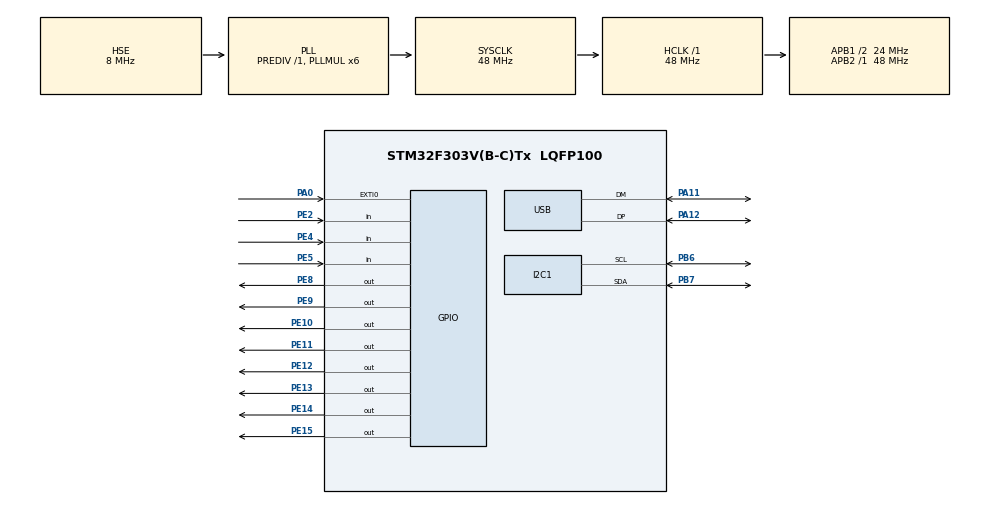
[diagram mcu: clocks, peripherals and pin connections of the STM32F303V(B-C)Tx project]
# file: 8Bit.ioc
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FREERTOS.Tasks01=defaultTask,0,128,StartDefaultTask,Default,NULL
Mcu.Family=STM32F3
Mcu.Name=STM32F303V(B-C)Tx
Mcu.Package=LQFP100
NVIC.EXTI0_IRQn=true\:5\:0\:false\:false\:true\:true\:true
NVIC.PriorityGroup=NVIC_PRIORITYGROUP_4
NVIC.TIM1_UP_TIM16_IRQn=true\:0\:0\:false\:false\:true\:false\:false
NVIC.TIM7_IRQn=true\:5\:0\:false\:false\:true\:true\:true
NVIC.TimeBase=TIM1_UP_TIM16_IRQn
NVIC.TimeBaseIP=TIM1
PA0.Signal=GPXTI0
PA11.Mode=Device
PA11.Signal=USB_DM
PA12.Mode=Device
PA12.Signal=USB_DP
PA13.Mode=Serial_Wire
PA13.Signal=SYS_JTMS-SWDIO
PA14.Mode=Serial_Wire
PA14.Signal=SYS_JTCK-SWCLK
PB6.Mode=I2C
PB6.Signal=I2C1_SCL
PB7.Mode=I2C
PB7.Signal=I2C1_SDA
PE10.Signal=GPIO_Output
PE11.Signal=GPIO_Output
PE12.Signal=GPIO_Output
PE13.Signal=GPIO_Output
PE14.Signal=GPIO_Output
PE15.Signal=GPIO_Output
PE2.Signal=GPIO_Input
PE4.Signal=GPIO_Input
PE5.Signal=GPIO_Input
PE8.Signal=GPIO_Output
PE9.Signal=GPIO_Output
PF0-OSC_IN.Mode=HSE-External-Oscillator
PF0-OSC_IN.Signal=RCC_OSC_IN
PF1-OSC_OUT.Mode=HSE-External-Oscillator
PF1-OSC_OUT.Signal=RCC_OSC_OUT
ProjectManager.HeapSize=0x200
ProjectManager.StackSize=0x400
ProjectManager.TargetToolchain=EWARM
RCC.AHBFreq_Value=48000000
RCC.APB1CLKDivider=RCC_HCLK_DIV2
RCC.APB1Freq_Value=24000000
RCC.APB1TimFreq_Value=48000000
RCC.APB2Freq_Value=48000000
RCC.APB2TimFreq_Value=48000000
RCC.CortexFreq_Value=48000000
RCC.HCLKFreq_Value=48000000
RCC.HSE_VALUE=8000000
RCC.HSI_VALUE=8000000
RCC.LSE_VALUE=32768
RCC.PLLMUL=RCC_PLL_MUL6
RCC.SYSCLKFreq_VALUE=48000000
RCC.SYSCLKSourceVirtual=RCC_SYSCLKSOURCE_PLLCLK
RCC.USBFreq_Value=48000000
TIM7.Period=999
TIM7.Prescaler=47999
VP_FREERTOS_VS_ENABLE.Mode=Enabled
VP_SYS_VS_tim1.Mode=TIM1
VP_TIM7_VS_ClockSourceINT.Mode=Enable_Timer
board=8Bit

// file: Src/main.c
/**
  ******************************************************************************
  * File Name          : main.c
  * Description        : Main program body
  ******************************************************************************
  * This notice applies to any and all portions of this file
  * that are not between comment pairs USER CODE BEGIN and
  * USER CODE END. Other portions of this file, whether
  * inserted by the user or by software development tools
  * are owned by their respective copyright owners.
  *
  * Copyright (c) 2018 STMicroelectronics International N.V.
  * All rights reserved.
  *
  * Redistribution and use in source and binary forms, with or without
  * modification, are permitted, provided that the following conditions are met:
  *
  * 1. Redistribution of source code must retain the above copyright notice,
  *    this list of conditions and the following disclaimer.
  * 2. Redistributions in binary form must reproduce the above copyright notice,
  *    this list of conditions and the following disclaimer in the documentation
  *    and/or other materials provided with the distribution.
  * 3. Neither the name of STMicroelectronics nor the names of other
  *    contributors to this software may be used to endorse or promote products
  *    derived from this software without specific written permission.
  * 4. This software, including modifications and/or derivative works of this
  *    software, must execute solely and exclusively on microcontroller or
  *    microprocessor devices manufactured by or for STMicroelectronics.
  * 5. Redistribution and use of this software other than as permitted under
  *    this license is void and will automatically terminate your rights under
  *    this license.
  *
  * THIS SOFTWARE IS PROVIDED BY STMICROELECTRONICS AND CONTRIBUTORS "AS IS"
  * AND ANY EXPRESS, IMPLIED OR STATUTORY WARRANTIES, INCLUDING, BUT NOT
  * LIMITED TO, THE IMPLIED WARRANTIES OF MERCHANTABILITY, FITNESS FOR A
  * PARTICULAR PURPOSE AND NON-INFRINGEMENT OF THIRD PARTY INTELLECTUAL PROPERTY
  * RIGHTS ARE DISCLAIMED TO THE FULLEST EXTENT PERMITTED BY LAW. IN NO EVENT
  * SHALL STMICROELECTRONICS OR CONTRIBUTORS BE LIABLE FOR ANY DIRECT, INDIRECT,
  * INCIDENTAL, SPECIAL, EXEMPLARY, OR CONSEQUENTIAL DAMAGES (INCLUDING, BUT NOT
  * LIMITED TO, PROCUREMENT OF SUBSTITUTE GOODS OR SERVICES; LOSS OF USE, DATA,
  * OR PROFITS; OR BUSINESS INTERRUPTION) HOWEVER CAUSED AND ON ANY THEORY OF
  * LIABILITY, WHETHER IN CONTRACT, STRICT LIABILITY, OR TORT (INCLUDING
  * NEGLIGENCE OR OTHERWISE) ARISING IN ANY WAY OUT OF THE USE OF THIS SOFTWARE,
  * EVEN IF ADVISED OF THE POSSIBILITY OF SUCH DAMAGE.
  *
  ******************************************************************************
  */

#include "main.h"
#include "stm32f3xx_hal.h"
#include "cmsis_os.h"

/* USER CODE BEGIN Includes */
#include "LED_Lib.h"
#include <stdio.h>
#include "Accelerometer.h"

/* USER CODE END Includes */

I2C_HandleTypeDef hi2c1;

TIM_HandleTypeDef htim7;

PCD_HandleTypeDef hpcd_USB_FS;

osThreadId defaultTaskHandle;

/* USER CODE BEGIN PV */
/* Private variables ---------------------------------------------------------*/
#define LD_PORT GPIOE

#define LD3 GPIO_PIN_9 //RED1

#define LD4 GPIO_PIN_8 //BLUE1

#define LD5 GPIO_PIN_10 //ORANGE1

#define LD6 GPIO_PIN_15 //GREEN1

#define LD7 GPIO_PIN_11 //GREEN2

#define LD8 GPIO_PIN_14 //ORANGE2

#define LD9 GPIO_PIN_12 //BLUE2

#define LD10 GPIO_PIN_13 //RED2

#define LD3_ON HAL_GPIO_WritePin(LD_PORT, LD3, GPIO_PIN_SET) //RED1

#define LD4_ON HAL_GPIO_WritePin(LD_PORT, LD4, GPIO_PIN_SET) //BLUE1

#define LD5_ON HAL_GPIO_WritePin(LD_PORT, LD5, GPIO_PIN_SET) //ORANGE1

#define LD6_ON HAL_GPIO_WritePin(LD_PORT, LD6, GPIO_PIN_SET) //GREEN1

#define LD7_ON HAL_GPIO_WritePin(LD_PORT, LD7, GPIO_PIN_SET) //GREEN2

#define LD8_ON HAL_GPIO_WritePin(LD_PORT, LD8, GPIO_PIN_SET) //ORANGE2

#define LD9_ON HAL_GPIO_WritePin(LD_PORT, LD9, GPIO_PIN_SET) //BLUE2

#define LD10_ON HAL_GPIO_WritePin(LD_PORT, LD10, GPIO_PIN_SET) //RED2

#define LD3_OFF HAL_GPIO_WritePin(LD_PORT, LD3, GPIO_PIN_RESET) //RED1

#define LD4_OFF HAL_GPIO_WritePin(LD_PORT, LD4, GPIO_PIN_RESET) //BLUE1

#define LD5_OFF HAL_GPIO_WritePin(LD_PORT, LD5, GPIO_PIN_RESET) //ORANGE1

#define LD6_OFF HAL_GPIO_WritePin(LD_PORT, LD6, GPIO_PIN_RESET) //GREEN1

#define LD7_OFF HAL_GPIO_WritePin(LD_PORT, LD7, GPIO_PIN_RESET) //GREEN2

#define LD8_OFF HAL_GPIO_WritePin(LD_PORT, LD8, GPIO_PIN_RESET) //ORANGE2

#define LD9_OFF HAL_GPIO_WritePin(LD_PORT, LD9, GPIO_PIN_RESET) //BLUE2

#define LD10_OFF HAL_GPIO_WritePin(LD_PORT, LD10, GPIO_PIN_RESET) //RED2

extern TIM_HandleTypeDef htim7;
/* USER CODE END PV */

void SystemClock_Config(void);
static void MX_GPIO_Init(void);
static void MX_I2C1_Init(void);
static void MX_USB_PCD_Init(void);
static void MX_TIM7_Init(void);
void StartDefaultTask(void const * argument);

/* USER CODE BEGIN PFP */
/* Private function prototypes -----------------------------------------------*/
extern int c;
int off=0;
/* USER CODE END PFP */

int main(void)
{

  /* MCU Configuration----------------------------------------------------------*/

  /* Reset of all peripherals, Initializes the Flash interface and the Systick. */
  HAL_Init();

  /* Configure the system clock */
  SystemClock_Config();

  /* Initialize all configured peripherals */
  MX_GPIO_Init();
  MX_I2C1_Init();
  MX_USB_PCD_Init();
  MX_TIM7_Init();

  /* USER CODE BEGIN 2 */
  HAL_TIM_Base_Start_IT(&htim7);

//xTaskCreate(vOutputString,"OOO",100,NULL,2,NULL);
 //xTaskCreate(vOutputLow,"LOW",100,NULL,2,NULL);
  /* USER CODE END 2 */

  /* Create the thread(s) */
  /* definition and creation of defaultTask */
  osThreadDef(defaultTask, StartDefaultTask, osPriorityNormal, 0, 128);
  defaultTaskHandle = osThreadCreate(osThread(defaultTask), NULL);

  /* Start scheduler */
  osKernelStart();

  /* We should never get here as control is now taken by the scheduler */

  /* Infinite loop */
  /* USER CODE BEGIN WHILE */
  //char character;
  while (1)
  {
    //char character;
   //scanf(&character);
    //outChar(character);

  /* USER CODE END WHILE */

  }

}

/** System Clock Configuration
*/
void SystemClock_Config(void)
{

  RCC_OscInitTypeDef RCC_OscInitStruct;
  RCC_ClkInitTypeDef RCC_ClkInitStruct;
  RCC_PeriphCLKInitTypeDef PeriphClkInit;

    /**Initializes the CPU, AHB and APB busses clocks
    */
  RCC_OscInitStruct.OscillatorType = RCC_OSCILLATORTYPE_HSI|RCC_OSCILLATORTYPE_HSE;
  RCC_OscInitStruct.HSEState = RCC_HSE_ON;
  RCC_OscInitStruct.HSEPredivValue = RCC_HSE_PREDIV_DIV1;
  RCC_OscInitStruct.HSIState = RCC_HSI_ON;
  RCC_OscInitStruct.HSICalibrationValue = 16;
  RCC_OscInitStruct.PLL.PLLState = RCC_PLL_ON;
  RCC_OscInitStruct.PLL.PLLSource = RCC_PLLSOURCE_HSE;
  RCC_OscInitStruct.PLL.PLLMUL = RCC_PLL_MUL6;
  if (HAL_RCC_OscConfig(&RCC_OscInitStruct) != HAL_OK)
  {
    _Error_Handler(__FILE__, __LINE__);
  }

    /**Initializes the CPU, AHB and APB busses clocks
    */
  RCC_ClkInitStruct.ClockType = RCC_CLOCKTYPE_HCLK|RCC_CLOCKTYPE_SYSCLK
                              |RCC_CLOCKTYPE_PCLK1|RCC_CLOCKTYPE_PCLK2;
  RCC_ClkInitStruct.SYSCLKSource = RCC_SYSCLKSOURCE_PLLCLK;
  RCC_ClkInitStruct.AHBCLKDivider = RCC_SYSCLK_DIV1;
  RCC_ClkInitStruct.APB1CLKDivider = RCC_HCLK_DIV2;
  RCC_ClkInitStruct.APB2CLKDivider = RCC_HCLK_DIV1;

  if (HAL_RCC_ClockConfig(&RCC_ClkInitStruct, FLASH_LATENCY_1) != HAL_OK)
  {
    _Error_Handler(__FILE__, __LINE__);
  }

  PeriphClkInit.PeriphClockSelection = RCC_PERIPHCLK_USB|RCC_PERIPHCLK_I2C1;
  PeriphClkInit.I2c1ClockSelection = RCC_I2C1CLKSOURCE_HSI;
  PeriphClkInit.USBClockSelection = RCC_USBCLKSOURCE_PLL;
  if (HAL_RCCEx_PeriphCLKConfig(&PeriphClkInit) != HAL_OK)
  {
    _Error_Handler(__FILE__, __LINE__);
  }

    /**Configure the Systick interrupt time
    */
  HAL_SYSTICK_Config(HAL_RCC_GetHCLKFreq()/1000);

    /**Configure the Systick
    */
  HAL_SYSTICK_CLKSourceConfig(SYSTICK_CLKSOURCE_HCLK);

  /* SysTick_IRQn interrupt configuration */
  HAL_NVIC_SetPriority(SysTick_IRQn, 15, 0);
}

/* I2C1 init function */
static void MX_I2C1_Init(void)
{

  hi2c1.Instance = I2C1;
  hi2c1.Init.Timing = 0x2000090E;
  hi2c1.Init.OwnAddress1 = 0;
  hi2c1.Init.AddressingMode = I2C_ADDRESSINGMODE_7BIT;
  hi2c1.Init.DualAddressMode = I2C_DUALADDRESS_DISABLE;
  hi2c1.Init.OwnAddress2 = 0;
  hi2c1.Init.OwnAddress2Masks = I2C_OA2_NOMASK;
  hi2c1.Init.GeneralCallMode = I2C_GENERALCALL_DISABLE;
  hi2c1.Init.NoStretchMode = I2C_NOSTRETCH_DISABLE;
  if (HAL_I2C_Init(&hi2c1) != HAL_OK)
  {
    _Error_Handler(__FILE__, __LINE__);
  }

    /**Configure Analogue filter
    */
  if (HAL_I2CEx_ConfigAnalogFilter(&hi2c1, I2C_ANALOGFILTER_ENABLE) != HAL_OK)
  {
    _Error_Handler(__FILE__, __LINE__);
  }

    /**Configure Digital filter
    */
  if (HAL_I2CEx_ConfigDigitalFilter(&hi2c1, 0) != HAL_OK)
  {
    _Error_Handler(__FILE__, __LINE__);
  }

}

/* TIM7 init function */
static void MX_TIM7_Init(void)
{

  TIM_MasterConfigTypeDef sMasterConfig;

  htim7.Instance = TIM7;
  htim7.Init.Prescaler = 47999;
  htim7.Init.CounterMode = TIM_COUNTERMODE_UP;
  htim7.Init.Period = 999;
  htim7.Init.AutoReloadPreload = TIM_AUTORELOAD_PRELOAD_DISABLE;
  if (HAL_TIM_Base_Init(&htim7) != HAL_OK)
  {
    _Error_Handler(__FILE__, __LINE__);
  }

  sMasterConfig.MasterOutputTrigger = TIM_TRGO_RESET;
  sMasterConfig.MasterSlaveMode = TIM_MASTERSLAVEMODE_DISABLE;
  if (HAL_TIMEx_MasterConfigSynchronization(&htim7, &sMasterConfig) != HAL_OK)
  {
    _Error_Handler(__FILE__, __LINE__);
  }

}

/* USB init function */
static void MX_USB_PCD_Init(void)
{

  hpcd_USB_FS.Instance = USB;
  hpcd_USB_FS.Init.dev_endpoints = 8;
  hpcd_USB_FS.Init.speed = PCD_SPEED_FULL;
  hpcd_USB_FS.Init.ep0_mps = DEP0CTL_MPS_64;
  hpcd_USB_FS.Init.phy_itface = PCD_PHY_EMBEDDED;
  hpcd_USB_FS.Init.low_power_enable = DISABLE;
  hpcd_USB_FS.Init.battery_charging_enable = DISABLE;
  if (HAL_PCD_Init(&hpcd_USB_FS) != HAL_OK)
  {
    _Error_Handler(__FILE__, __LINE__);
  }

}

/** Configure pins as
        * Analog
        * Input
        * Output
        * EVENT_OUT
        * EXTI
*/
static void MX_GPIO_Init(void)
{

  GPIO_InitTypeDef GPIO_InitStruct;

  /* GPIO Ports Clock Enable */
  __HAL_RCC_GPIOE_CLK_ENABLE();
  __HAL_RCC_GPIOF_CLK_ENABLE();
  __HAL_RCC_GPIOA_CLK_ENABLE();
  __HAL_RCC_GPIOB_CLK_ENABLE();

  /*Configure GPIO pin Output Level */
  HAL_GPIO_WritePin(GPIOE, GPIO_PIN_8|GPIO_PIN_9|GPIO_PIN_10|GPIO_PIN_11
                          |GPIO_PIN_12|GPIO_PIN_13|GPIO_PIN_14|GPIO_PIN_15, GPIO_PIN_RESET);

  /*Configure GPIO pins : PE2 PE4 PE5 */
  GPIO_InitStruct.Pin = GPIO_PIN_2|GPIO_PIN_4|GPIO_PIN_5;
  GPIO_InitStruct.Mode = GPIO_MODE_INPUT;
  GPIO_InitStruct.Pull = GPIO_NOPULL;
  HAL_GPIO_Init(GPIOE, &GPIO_InitStruct);

  /*Configure GPIO pin : PA0 */
  GPIO_InitStruct.Pin = GPIO_PIN_0;
  GPIO_InitStruct.Mode = GPIO_MODE_IT_RISING;
  GPIO_InitStruct.Pull = GPIO_NOPULL;
  HAL_GPIO_Init(GPIOA, &GPIO_InitStruct);

  /*Configure GPIO pins : PE8 PE9 PE10 PE11
                           PE12 PE13 PE14 PE15 */
  GPIO_InitStruct.Pin = GPIO_PIN_8|GPIO_PIN_9|GPIO_PIN_10|GPIO_PIN_11
                          |GPIO_PIN_12|GPIO_PIN_13|GPIO_PIN_14|GPIO_PIN_15;
  GPIO_InitStruct.Mode = GPIO_MODE_OUTPUT_PP;
  GPIO_InitStruct.Pull = GPIO_NOPULL;
  GPIO_InitStruct.Speed = GPIO_SPEED_FREQ_LOW;
  HAL_GPIO_Init(GPIOE, &GPIO_InitStruct);

  /* EXTI interrupt init*/
  HAL_NVIC_SetPriority(EXTI0_IRQn, 5, 0);
  HAL_NVIC_EnableIRQ(EXTI0_IRQn);

}

/* StartDefaultTask function */
void StartDefaultTask(void const * argument)
{

  for(;;)
  {
    osDelay(1);
  }
}

void HAL_TIM_PeriodElapsedCallback(TIM_HandleTypeDef *htim)
{
  if (htim->Instance == TIM1) {
    HAL_IncTick();
  }
}

void _Error_Handler(char * file, int line)
{
  while(1)
  {
  }
}

/************************ (C) COPYRIGHT STMicroelectronics *****END OF FILE****/
